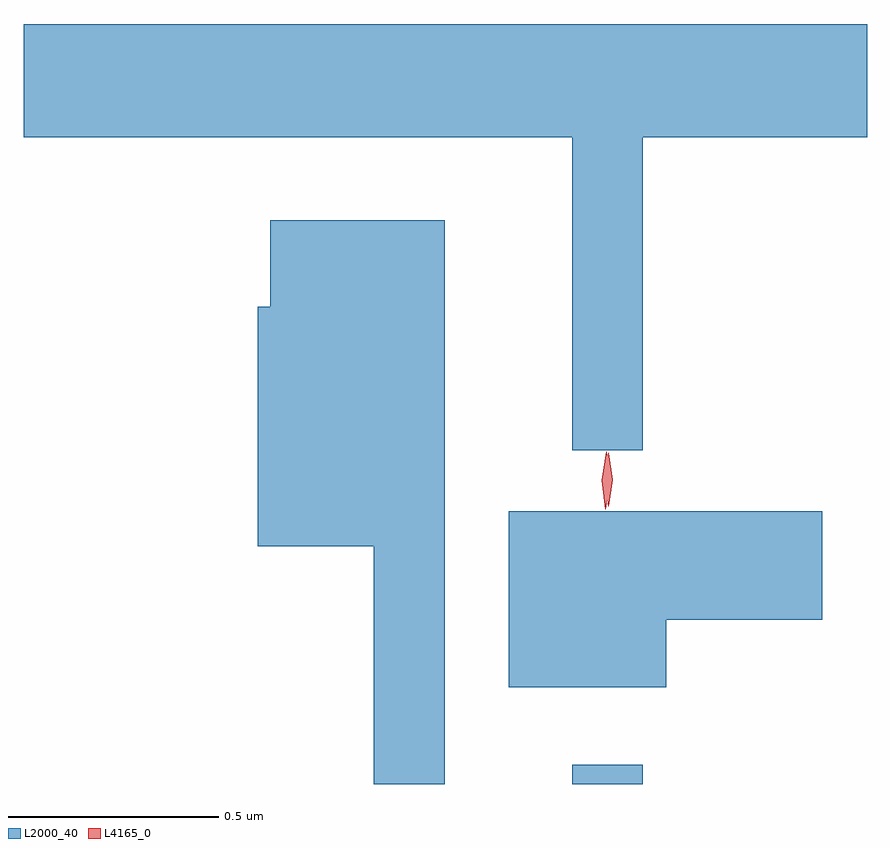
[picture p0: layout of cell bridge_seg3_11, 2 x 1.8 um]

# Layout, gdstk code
import gdstk
lib = gdstk.Library(unit=1e-6, precision=1e-09)
def R(c, l, rs):  # rectangles x0, y0, x1, y1
    for r in rs: c.add(gdstk.rectangle(r[:2], r[2:], *l))
def P(c, l, *ps):  # polygons
    for p in ps: c.add(gdstk.Polygon(p, *l))
L2000_40 = (2000, 40)
L4165_0 = (4165, 0)

bridge_seg3_11 = lib.new_cell('bridge_seg3_11')
R(bridge_seg3_11, L2000_40, [(1683.061,1206.622,1683.229,1206.668)])
P(bridge_seg3_11, L2000_40, [(1683.229,1208.156),(1683.761,1208.156),(1683.761,1208.424),(1681.761,1208.424),(1681.761,1208.156),(1683.061,1208.156),(1683.061,1207.413),(1683.229,1207.413)],
  [(1682.759,1207.959),(1682.346,1207.959),(1682.346,1207.754),(1682.316,1207.754),(1682.316,1207.186),(1682.591,1207.186),(1682.591,1206.622),(1682.759,1206.622)],
  [(1683.284,1207.011),(1683.654,1207.011),(1683.654,1207.269),(1682.911,1207.269),(1682.911,1206.851),(1683.284,1206.851)])
P(bridge_seg3_11, L4165_0, [(1683.147,1207.28),(1683.138,1207.343),(1683.147,1207.406),(1683.148,1207.407),(1683.148,1207.406),(1683.158,1207.343),(1683.148,1207.28),(1683.148,1207.28)],
  [(1683.14,1207.274),(1683.132,1207.342),(1683.142,1207.41),(1683.142,1207.41),(1683.143,1207.41),(1683.152,1207.342),(1683.141,1207.274),(1683.141,1207.274)])

lib.write_gds('bridge_seg3_11.gds')
